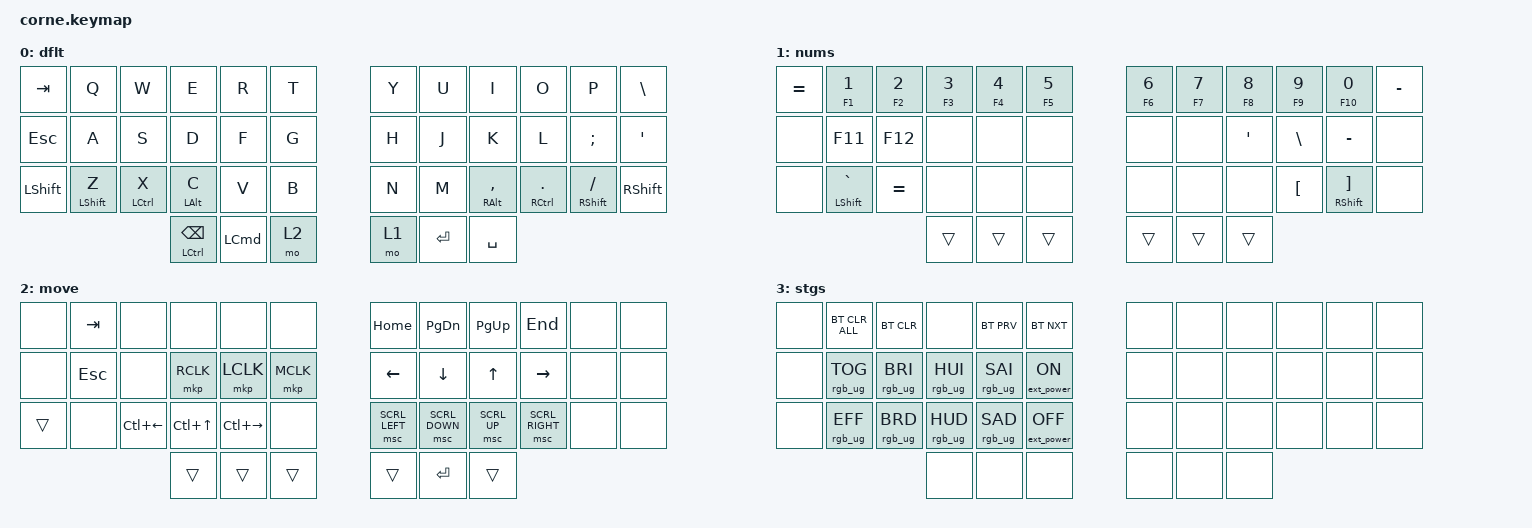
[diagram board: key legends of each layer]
/*
 * Copyright (c) 2020 The ZMK Contributors
 *
 * SPDX-License-Identifier: MIT
 */

#include <behaviors.dtsi>
#include <dt-bindings/zmk/bt.h>
#include <dt-bindings/zmk/ext_power.h>
#include <dt-bindings/zmk/keys.h>
#include <dt-bindings/zmk/pointing.h>
#include <dt-bindings/zmk/rgb.h>

#define BASE 0
#define LOWER 1
#define RAISE 2
#define ADJUST 3

/ {
    // Activate ADJUST layer by pressing raise and lower

    conditional_layers {
        compatible = "zmk,conditional-layers";

        adjust_layer {
            if-layers = <1 2>;
            then-layer = <3>;
        };
    };

    behaviors {
        hold_tap_with_repeat: hold_tap_with_repeat {
            compatible = "zmk,behavior-hold-tap";
            label = "HOLD_TAP_WITH_REPEAT";
            bindings = <&kp>, <&kp>;

            #binding-cells = <2>;
            tapping-term-ms = <200>;
            quick-tap-ms = <150>;
        };
    };

    keymap {
        compatible = "zmk,keymap";

        default_layer {
            display-name = "dflt";

            // ------------------------------------------------------------------------------------------------------------
            // |  TAB  |  Q  |  W  |  E   |  R   |  T   |                   |  Y   |  U    |  I    |  O   |   P   |   \   |
            // |  ESC  |  A  |  S  |  D   |  F   |  G   |                   |  H   |  J    |  K    |  L   |   ;   |   '   |
            // | SHIFT |  Z  |  X  |  C   |  V   |  B   |                   |  N   |  M    |  ,    |  .   |   /   | SHIFT |
            //                     | CTRL/BKSP | CMD  | RAISE |       | LOWER| ENTER | SPACE |

            bindings = <
&kp TAB         &kp Q             &kp W        &kp E                                  &kp R             &kp T    &kp Y  &kp U      &kp I           &kp O          &kp P           &kp BACKSLASH
&kp ESC         &kp A             &kp S        &kp D                                  &kp F             &kp G    &kp H  &kp J      &kp K           &kp L          &kp SEMI        &kp SQT
&kp LEFT_SHIFT  &mt LEFT_SHIFT Z  &mt LCTRL X  &mt LEFT_ALT C                         &kp V             &kp B    &kp N  &kp M      &mt RALT COMMA  &mt RCTRL DOT  &mt RSHFT FSLH  &kp RSHFT
                                               &hold_tap_with_repeat LCTRL BACKSPACE  &kp LEFT_COMMAND  &mo 2    &mo 1  &kp ENTER  &kp SPACE
            >;
        };

        num_sym {
            display-name = "nums";

            // ------------------------------------------------------------------------------------------------------------
            // | EQUAL |  1  |  2  |  3   |  4   |  5   |                   |  6   |  7    |  8    |  9   |   0   | MINUS |
            // |       | F11 | F12 |      |      |      |                   |      |       |  '    |  \   |   -   |       |
            // |       |  `  |  =  |      |      |      |                   |      |       |       |  [   |   ]   |       |
            //                     |      |      |      |                   |      |       |       |

            bindings = <
&kp EQUAL  &mt F1 NUMBER_1       &mt F2 NUMBER_2  &mt F3 NUMBER_3  &mt F4 NUMBER_4  &mt F5 N5    &mt F6 NUMBER_6  &mt F7 N7  &mt F8 N8         &mt F9 N9         &mt F10 N0                &kp MINUS
&none      &kp F11               &kp F12          &none            &none            &none        &none            &none      &kp SINGLE_QUOTE  &kp BACKSLASH     &kp MINUS                 &none
&none      &mt LEFT_SHIFT GRAVE  &kp EQUAL        &none            &none            &none        &none            &none      &none             &kp LEFT_BRACKET  &mt RSHIFT RIGHT_BRACKET  &none
                                                  &trans           &trans           &trans       &trans           &trans     &trans
            >;
        };

        move {
            display-name = "move";
            bindings = <
&none   &kp TAB     &none         &none       &none          &none        &kp HOME        &kp PAGE_DOWN   &kp PAGE_UP   &kp END          &none  &none
&none   &kp ESCAPE  &none         &mkp RCLK   &mkp LCLK      &mkp MCLK    &kp LEFT_ARROW  &kp DOWN        &kp UP        &kp RIGHT        &none  &none
&trans  &none       &kp LC(LEFT)  &kp LC(UP)  &kp LC(RIGHT)  &none        &msc SCRL_LEFT  &msc SCRL_DOWN  &msc SCRL_UP  &msc SCRL_RIGHT  &none  &none
                                  &trans      &trans         &trans       &trans          &kp ENTER       &trans
            >;
        };

        settings {
            // ----------------------------------------------------------------------------------------------------------------------------
            // |        | BT_CLR_ALL | BT_CLR |      | BT_PRV | BT_NXT |                  |      |      |       |      |       |       |
            // |        | RGB_TOG    | BRI    | HUI  | SAI    | EP_ON  |                  |      |      |       |      |       |       |
            // |        | RGB_EFF    | BRD    | HUD  | SAD    | EP_OFF |                  |      |      |       |      |       |       |
            //                                |      |        |        |                  |      |      |       |

            display-name = "stgs";
            bindings = <
&none  &bt BT_CLR_ALL   &bt BT_CLR       &none            &bt BT_PRV       &bt BT_NXT           &none  &none  &none  &none  &none  &none
&none  &rgb_ug RGB_TOG  &rgb_ug RGB_BRI  &rgb_ug RGB_HUI  &rgb_ug RGB_SAI  &ext_power EP_ON     &none  &none  &none  &none  &none  &none
&none  &rgb_ug RGB_EFF  &rgb_ug RGB_BRD  &rgb_ug RGB_HUD  &rgb_ug RGB_SAD  &ext_power EP_OFF    &none  &none  &none  &none  &none  &none
                                         &none            &none            &none                &none  &none  &none
            >;
        };
    };
};
